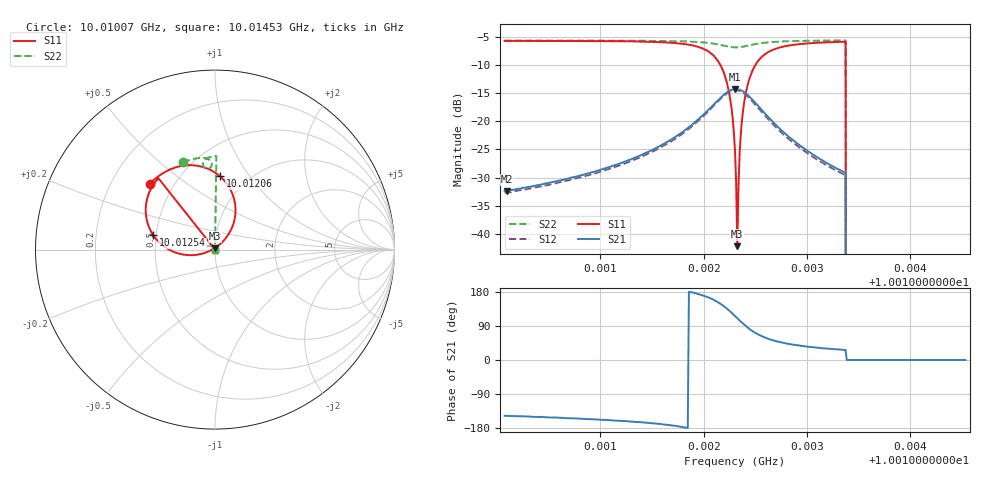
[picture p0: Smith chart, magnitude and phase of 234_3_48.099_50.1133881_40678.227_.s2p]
#  HZ  S  RI  R  50.00
! Rohde & Schwarz Vector Network Analyzer
! Rohde-Schwarz,ZNB20-2Port,1311601062101988,3.16
! Created: UTC 12/23/2023, 3:58:06 AM
! freq[Hz]  re:S11  im:S11  re:S21  im:S21  re:S12  im:S12  re:S22  im:S22
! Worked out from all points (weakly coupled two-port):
!   401 points, 10.01007 GHz to 10.01453 GHz, reference 50 ohm
!   highest |S21| = -14.30 dB at 10.0123 GHz (marker M1); lowest = -32.4 dB at 10.01009 GHz (marker M2)
!   lowest |S11| = -42.2 dB at 10.01232 GHz (marker M3), VSWR 1.02, Z = 49.8 + j0.737 ohm
!   |S11| at or under -10 dB: 10.01216 GHz to 10.0125 GHz (340 kHz wide, 0.0034 % of centre); 10.01337 GHz to end of sweep
!   |S22| runs from - to -5.7 dB; largest |S21 - S12| = 0.0094
!   S11 on the Smith chart (normalised r, x): 10.01007 GHz: 0.37, +0.37; 10.01206 GHz: 0.75, +0.73; 10.01254 GHz: 0.48, +0.09; 10.01453 GHz: 1.00, +0.00
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1.0010072e10  -0.3624 0.3681  -0.0202 -0.013  -0.0189 -0.0134  -0.1776 0.4875
1.0010095e10  -0.3608 0.3695  -0.0202 -0.0128  -0.0188 -0.0135  -0.1762 0.4881
1.0010819e10  -0.3063 0.415  -0.0302 -0.0141  -0.0284 -0.0149  -0.1289 0.5029
1.0011567e10  -0.1984 0.4637  -0.0584 -0.012  -0.0557 -0.0143  -0.0734 0.5114
1.0012057e10  0.0282 0.4081  -0.1244 0.036  -0.1224 0.0287  -0.0243 0.4932
1.0012169e10  0.1048 0.2876  -0.137 0.089  -0.1382 0.0801  -0.018 0.474
1.0012236e10  0.1084 0.1651  -0.125 0.1338  -0.128 0.1254  -0.023 0.4599
1.001228e10  0.0708 0.0781  -0.1011 0.1622  -0.1049 0.1549  -0.0318 0.4527
1.0012291e10  0.0553 0.0576  -0.0929 0.1683  -0.0969 0.1611  -0.0346 0.4516
1.0012303e10  0.0382 0.0393  -0.0846 0.1732  -0.0885 0.1663  -0.0375 0.4508
1.0012325e10  -0.00238 0.0074  -0.0662 0.1807  -0.0709 0.1739  -0.0435 0.4504
1.0012347e10  -0.0487 -0.0156  -0.0467 0.1845  -0.052 0.1779  -0.0492 0.4514
1.0012369e10  -0.0973 -0.0282  -0.0279 0.1842  -0.033 0.1781  -0.0546 0.4539
1.0012403e10  -0.1668 -0.0291  -0.00213 0.1779  -0.0063 0.172  -0.0609 0.4595
1.0012459e10  -0.2631 0.00384  0.0313 0.1566  0.0251 0.1519  -0.0663 0.471
1.0012537e10  -0.3432 0.0792  0.054 0.1222  0.0479 0.1185  -0.0651 0.4859
1.001276e10  -0.3845 0.2475  0.057 0.0589  0.052 0.0581  -0.045 0.5085
1.001305e10  -0.3531 0.3457  0.0424 0.0286  0.0391 0.0291  -0.0183 0.5179
1.0013351e10  -0.318 0.3949  0.0317 0.0161  0.0294 0.0168  0.00555 0.521
1.0013406e10  0 0  0 0  0 0  0 0
1.0013797e10  0 0  0 0  0 0  0 0
1.0014533e10  0 0  0 0  0 0  0 0
